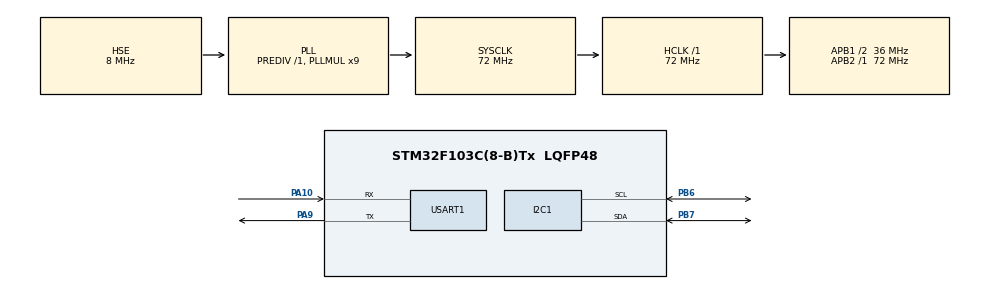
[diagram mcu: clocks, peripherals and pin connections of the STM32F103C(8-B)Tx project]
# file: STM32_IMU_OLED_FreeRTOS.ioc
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Dma.Request0=USART1_RX
Dma.Request1=USART1_TX
Dma.USART1_RX.0.Direction=DMA_PERIPH_TO_MEMORY
Dma.USART1_RX.0.Instance=DMA1_Channel5
Dma.USART1_RX.0.MemDataAlignment=DMA_MDATAALIGN_BYTE
Dma.USART1_RX.0.MemInc=DMA_MINC_ENABLE
Dma.USART1_RX.0.Mode=DMA_NORMAL
Dma.USART1_RX.0.PeriphDataAlignment=DMA_PDATAALIGN_BYTE
Dma.USART1_RX.0.PeriphInc=DMA_PINC_DISABLE
Dma.USART1_RX.0.Priority=DMA_PRIORITY_LOW
Dma.USART1_TX.1.Direction=DMA_MEMORY_TO_PERIPH
Dma.USART1_TX.1.Instance=DMA1_Channel4
Dma.USART1_TX.1.MemDataAlignment=DMA_MDATAALIGN_BYTE
Dma.USART1_TX.1.MemInc=DMA_MINC_ENABLE
Dma.USART1_TX.1.Mode=DMA_NORMAL
Dma.USART1_TX.1.PeriphDataAlignment=DMA_PDATAALIGN_BYTE
Dma.USART1_TX.1.PeriphInc=DMA_PINC_DISABLE
Dma.USART1_TX.1.Priority=DMA_PRIORITY_LOW
FREERTOS.Tasks01=defaultTask,24,128,StartDefaultTask,Default,NULL,Dynamic,NULL,NULL;IMU_Task,40,256,StartTask_IMU,Default,NULL,Dynamic,NULL,NULL;UART_Task,8,256,StartTask_UART,Default,NULL,Dynamic,NULL,NULL;OLED_Task,24,256,StartTask_OLED,Default,NULL,Dynamic,NULL,NULL
FREERTOS.configTOTAL_HEAP_SIZE=8192
Mcu.Family=STM32F1
Mcu.Name=STM32F103C(8-B)Tx
Mcu.Package=LQFP48
NVIC.DMA1_Channel4_IRQn=true\:5\:0\:false\:false\:true\:true\:false\:true
NVIC.DMA1_Channel5_IRQn=true\:5\:0\:false\:false\:true\:true\:false\:true
NVIC.PriorityGroup=NVIC_PRIORITYGROUP_4
NVIC.TIM1_UP_IRQn=true\:0\:0\:false\:false\:true\:false\:false\:true
NVIC.TimeBase=TIM1_UP_IRQn
NVIC.TimeBaseIP=TIM1
NVIC.USART1_IRQn=true\:5\:0\:false\:false\:true\:true\:true\:true
PA10.Mode=Asynchronous
PA10.Signal=USART1_RX
PA13.Mode=Serial_Wire
PA13.Signal=SYS_JTMS-SWDIO
PA14.Mode=Serial_Wire
PA14.Signal=SYS_JTCK-SWCLK
PA9.Mode=Asynchronous
PA9.Signal=USART1_TX
PB6.Mode=I2C
PB6.Signal=I2C1_SCL
PB7.Mode=I2C
PB7.Signal=I2C1_SDA
PD0-OSC_IN.Mode=HSE-External-Oscillator
PD0-OSC_IN.Signal=RCC_OSC_IN
PD1-OSC_OUT.Mode=HSE-External-Oscillator
PD1-OSC_OUT.Signal=RCC_OSC_OUT
ProjectManager.HeapSize=0x200
ProjectManager.StackSize=0x400
ProjectManager.TargetToolchain=MDK-ARM V5.27
RCC.AHBFreq_Value=72000000
RCC.APB1CLKDivider=RCC_HCLK_DIV2
RCC.APB1Freq_Value=36000000
RCC.APB1TimFreq_Value=72000000
RCC.APB2Freq_Value=72000000
RCC.APB2TimFreq_Value=72000000
RCC.HCLKFreq_Value=72000000
RCC.PLLMUL=RCC_PLL_MUL9
RCC.PLLSourceVirtual=RCC_PLLSOURCE_HSE
RCC.SYSCLKFreq_VALUE=72000000
RCC.SYSCLKSource=RCC_SYSCLKSOURCE_PLLCLK
RCC.USBFreq_Value=72000000
USART1.VirtualMode=VM_ASYNC
VP_FREERTOS_VS_CMSIS_V2.Mode=CMSIS_V2
VP_SYS_VS_tim1.Mode=TIM1
board=custom

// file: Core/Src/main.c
/* USER CODE BEGIN Header */
/**
  ******************************************************************************
  * @file           : main.c
  * @brief          : Main program body
  ******************************************************************************
  * @attention
  *
  * <h2><center>&copy; Copyright (c) 2026 STMicroelectronics.
  * All rights reserved.</center></h2>
  *
  * This software component is licensed by ST under BSD 3-Clause license,
  * the "License"; You may not use this file except in compliance with the
  * License. You may obtain a copy of the License at:
  *                        opensource.org/licenses/BSD-3-Clause
  *
  ******************************************************************************
  */
/* USER CODE END Header */
#include "main.h"
#include "cmsis_os.h"
#include "dma.h"
#include "i2c.h"
#include "usart.h"
#include "gpio.h"

/* USER CODE BEGIN Includes */
#include "ssd1306.h"
/* USER CODE END Includes */

/* USER CODE BEGIN PD */

#define MPU6050_ADDR             (0x68U << 1)
#define MPU6050_REG_WHO_AM_I     0x75U
#define MPU6050_REG_PWR_MGMT_1   0x6BU
#define MPU6050_REG_ACCEL_XOUT_H 0x3BU
/* USER CODE END PD */

/* USER CODE BEGIN PV */
volatile int16_t accel_x = 0;
volatile int16_t accel_y = 0;
volatile int16_t accel_z = 0;

volatile int16_t gyro_x = 0;
volatile int16_t gyro_y = 0;
volatile int16_t gyro_z = 0;

volatile uint8_t mpu6050_ok = 0U;

volatile float roll_acc = 0.0f;
volatile float pitch_acc = 0.0f;
volatile float yaw_gyro = 0.0f;
/* USER CODE END PV */

void SystemClock_Config(void);
void MX_FREERTOS_Init(void);

/* USER CODE BEGIN 0 */
/** @brief 向 MPU6050 的一个寄存器写入一个字节。 */
static HAL_StatusTypeDef MPU6050_WriteReg(
    uint8_t reg,
    uint8_t data)
{
    return HAL_I2C_Mem_Write(
        &hi2c1,
        MPU6050_ADDR,
        reg,
        I2C_MEMADD_SIZE_8BIT,
        &data,
        1,
        100
    );
}

/** @brief 从 MPU6050 连续读取多个寄存器。 */
static HAL_StatusTypeDef MPU6050_ReadRegs(
    uint8_t reg,
    uint8_t *data,
    uint16_t len)
{
    return HAL_I2C_Mem_Read(
        &hi2c1,
        MPU6050_ADDR,
        reg,
        I2C_MEMADD_SIZE_8BIT,
        data,
        len,
        100
    );
}

/**
 * @brief 检查 MPU6050 身份并完成基础配置。
 *
 * 配置内容包括唤醒芯片、加速度量程 ±2g、陀螺仪量程 ±250°/s，
 * 并把采样分频设置为较容易观察的速度。
 */
HAL_StatusTypeDef MPU6050_Init(void)
{
    uint8_t id = 0;

    if (MPU6050_ReadRegs(
            MPU6050_REG_WHO_AM_I, &id, 1) != HAL_OK)
    {
        return HAL_ERROR;
    }

    if (id != 0x68)
    {
        return HAL_ERROR;
    }

    if (MPU6050_WriteReg(
            MPU6050_REG_PWR_MGMT_1, 0x00) != HAL_OK)
    {
        return HAL_ERROR;
    }

    HAL_Delay(100);

    if (MPU6050_WriteReg(0x1B, 0x00) != HAL_OK)
    {
        return HAL_ERROR;
    }

    if (MPU6050_WriteReg(0x1C, 0x00) != HAL_OK)
    {
        return HAL_ERROR;
    }

    if (MPU6050_WriteReg(0x19, 0x07) != HAL_OK)
    {
        return HAL_ERROR;
    }

    return HAL_OK;
}

/**
 * @brief 读取一组完整的加速度和陀螺仪原始数据。
 *
 * 从 ACCEL_XOUT_H 开始连续读取 14 字节，跳过温度数据后解析出
 * 三轴加速度和三轴陀螺仪数据。
 */
HAL_StatusTypeDef MPU6050_ReadRaw(void)
{
    uint8_t buf[14];

    if (MPU6050_ReadRegs(
            MPU6050_REG_ACCEL_XOUT_H,
            buf,
            14) != HAL_OK)
    {
        return HAL_ERROR;
    }

    accel_x = (int16_t)((buf[0] << 8) | buf[1]);
    accel_y = (int16_t)((buf[2] << 8) | buf[3]);
    accel_z = (int16_t)((buf[4] << 8) | buf[5]);

    gyro_x = (int16_t)((buf[8] << 8) | buf[9]);
    gyro_y = (int16_t)((buf[10] << 8) | buf[11]);
    gyro_z = (int16_t)((buf[12] << 8) | buf[13]);

    return HAL_OK;
}
/* USER CODE END 0 */

int main(void)
{

  /* MCU Configuration--------------------------------------------------------*/

  /* Reset of all peripherals, Initializes the Flash interface and the Systick. */
  HAL_Init();

  /* Configure the system clock */
  SystemClock_Config();

  /* Initialize all configured peripherals */
  MX_GPIO_Init();
  MX_DMA_Init();
  MX_USART1_UART_Init();
  MX_I2C1_Init();
    /* USER CODE BEGIN 2 */
  /* Initialize sensors and the display before starting the scheduler. */
  mpu6050_ok = (MPU6050_Init() == HAL_OK) ? 1U : 0U;
  (void)ssd1306_Init(&hi2c1);
  /* USER CODE END 2 */

  /* Init scheduler */
  osKernelInitialize();  /* Call init function for freertos objects (in freertos.c) */
  MX_FREERTOS_Init();
  /* Start scheduler */
  osKernelStart();

  /* We should never get here as control is now taken by the scheduler */
  /* Infinite loop */
  while (1){

  }
}

void SystemClock_Config(void)
{
  RCC_OscInitTypeDef RCC_OscInitStruct = {0};
  RCC_ClkInitTypeDef RCC_ClkInitStruct = {0};

  /** Initializes the RCC Oscillators according to the specified parameters
  * in the RCC_OscInitTypeDef structure.
  */
  RCC_OscInitStruct.OscillatorType = RCC_OSCILLATORTYPE_HSE;
  RCC_OscInitStruct.HSEState = RCC_HSE_ON;
  RCC_OscInitStruct.HSEPredivValue = RCC_HSE_PREDIV_DIV1;
  RCC_OscInitStruct.HSIState = RCC_HSI_ON;
  RCC_OscInitStruct.PLL.PLLState = RCC_PLL_ON;
  RCC_OscInitStruct.PLL.PLLSource = RCC_PLLSOURCE_HSE;
  RCC_OscInitStruct.PLL.PLLMUL = RCC_PLL_MUL9;
  if (HAL_RCC_OscConfig(&RCC_OscInitStruct) != HAL_OK)
  {
    Error_Handler();
  }
  /** Initializes the CPU, AHB and APB buses clocks
  */
  RCC_ClkInitStruct.ClockType = RCC_CLOCKTYPE_HCLK|RCC_CLOCKTYPE_SYSCLK
                              |RCC_CLOCKTYPE_PCLK1|RCC_CLOCKTYPE_PCLK2;
  RCC_ClkInitStruct.SYSCLKSource = RCC_SYSCLKSOURCE_PLLCLK;
  RCC_ClkInitStruct.AHBCLKDivider = RCC_SYSCLK_DIV1;
  RCC_ClkInitStruct.APB1CLKDivider = RCC_HCLK_DIV2;
  RCC_ClkInitStruct.APB2CLKDivider = RCC_HCLK_DIV1;

  if (HAL_RCC_ClockConfig(&RCC_ClkInitStruct, FLASH_LATENCY_2) != HAL_OK)
  {
    Error_Handler();
  }
}

 /**
  * @brief  Period elapsed callback in non blocking mode
  * @note   This function is called  when TIM1 interrupt took place, inside
  * HAL_TIM_IRQHandler(). It makes a direct call to HAL_IncTick() to increment
  * a global variable "uwTick" used as application time base.
  * @param  htim : TIM handle
  * @retval None
  */
void HAL_TIM_PeriodElapsedCallback(TIM_HandleTypeDef *htim)
{
  if (htim->Instance == TIM1) {
    HAL_IncTick();
  }
}

void Error_Handler(void)
{
  __disable_irq();
  while (1)
  {
  }
}

/************************ (C) COPYRIGHT STMicroelectronics *****END OF FILE****/

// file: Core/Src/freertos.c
/* USER CODE BEGIN Header */
/**
  ******************************************************************************
  * File Name          : freertos.c
  * Description        : Code for freertos applications
  ******************************************************************************
  * @attention
  *
  * <h2><center>&copy; Copyright (c) 2026 STMicroelectronics.
  * All rights reserved.</center></h2>
  *
  * This software component is licensed by ST under Ultimate Liberty license
  * SLA0044, the "License"; You may not use this file except in compliance with
  * the License. You may obtain a copy of the License at:
  *                             www.st.com/SLA0044
  *
  ******************************************************************************
  */
/* USER CODE END Header */

#include "FreeRTOS.h"
#include "task.h"
#include "main.h"
#include "cmsis_os.h"

/* USER CODE BEGIN Includes */
#include <math.h>
#include <stdio.h>
#include <string.h>
#include "i2c.h"
#include "usart.h"
#include "ssd1306.h"
/* USER CODE END Includes */

/* USER CODE BEGIN Variables */
#define UART_RX_BUFFER_SIZE   256U
#define UART_ECHO_QUEUE_DEPTH 4U

static osMutexId_t i2cMutexHandle;
/* 保护 IMU 原始数据和姿态角，避免多个任务同时读写同一组数据。 */
static osMutexId_t attitudeMutexHandle;

/* DMA 接收缓冲区只负责接收当前这一帧。 */
static uint8_t uart_rx_buffer[UART_RX_BUFFER_SIZE];
/* 回传队列使用独立缓冲区，避免 DMA 发送时被下一帧覆盖。 */
static uint8_t uart_echo_queue[UART_ECHO_QUEUE_DEPTH][UART_RX_BUFFER_SIZE];
static uint16_t uart_echo_length[UART_ECHO_QUEUE_DEPTH];
static char uart_telemetry_buffer[UART_RX_BUFFER_SIZE];
static volatile uint8_t uart_echo_head = 0U;
static volatile uint8_t uart_echo_tail = 0U;
static volatile uint8_t uart_tx_active = 0U;
static volatile uint8_t uart_rx_error = 0U;
/* USER CODE END Variables */
/* Definitions for defaultTask */
osThreadId_t defaultTaskHandle;
const osThreadAttr_t defaultTask_attributes = {
  .name = "defaultTask",
  .stack_size = 128 * 4,
  .priority = (osPriority_t) osPriorityNormal,
};
/* Definitions for IMU_Task */
osThreadId_t IMU_TaskHandle;
const osThreadAttr_t IMU_Task_attributes = {
  .name = "IMU_Task",
  .stack_size = 256 * 4,
  .priority = (osPriority_t) osPriorityHigh,
};
/* Definitions for UART_Task */
osThreadId_t UART_TaskHandle;
const osThreadAttr_t UART_Task_attributes = {
  .name = "UART_Task",
  .stack_size = 256 * 4,
  .priority = (osPriority_t) osPriorityLow,
};
/* Definitions for OLED_Task */
osThreadId_t OLED_TaskHandle;
const osThreadAttr_t OLED_Task_attributes = {
  .name = "OLED_Task",
  .stack_size = 256 * 4,
  .priority = (osPriority_t) osPriorityNormal,
};

void StartDefaultTask(void *argument);
void StartTask_IMU(void *argument);
void StartTask_UART(void *argument);
void StartTask_OLED(void *argument);

static void UART_EchoQueuePush(const uint8_t *data, uint16_t length);
static void UART_EchoProcess(void);
static uint8_t UART_TelemetryTryQueue(void);

void MX_FREERTOS_Init(void); /* (MISRA C 2004 rule 8.1) */

void MX_FREERTOS_Init(void) {

    /* USER CODE BEGIN RTOS_MUTEX */
  i2cMutexHandle = osMutexNew(NULL);
  attitudeMutexHandle = osMutexNew(NULL);
  if ((i2cMutexHandle == NULL) || (attitudeMutexHandle == NULL))
  {
    Error_Handler();
  }
  /* USER CODE END RTOS_MUTEX */

  /* Create the thread(s) */
  /* creation of defaultTask */
  defaultTaskHandle = osThreadNew(StartDefaultTask, NULL, &defaultTask_attributes);

  /* creation of IMU_Task */
  IMU_TaskHandle = osThreadNew(StartTask_IMU, NULL, &IMU_Task_attributes);

  /* creation of UART_Task */
  UART_TaskHandle = osThreadNew(StartTask_UART, NULL, &UART_Task_attributes);

  /* creation of OLED_Task */
  OLED_TaskHandle = osThreadNew(StartTask_OLED, NULL, &OLED_Task_attributes);

    /* USER CODE BEGIN RTOS_THREADS */
  if ((defaultTaskHandle == NULL) ||
      (IMU_TaskHandle == NULL) ||
      (UART_TaskHandle == NULL) ||
      (OLED_TaskHandle == NULL))
  {
    Error_Handler();
  }
  /* USER CODE END RTOS_THREADS */

}

void StartDefaultTask(void *argument)
{
  (void)argument;
  for (;;)
  {
    osDelay(1000U);
  }
}

void StartTask_IMU(void *argument)
{
  uint32_t previousTick;

  (void)argument;
  previousTick = HAL_GetTick();

  for (;;)
  {
    uint8_t sensorReady = 0U;
    if (osMutexAcquire(attitudeMutexHandle, osWaitForever) == osOK)
    {
      sensorReady = mpu6050_ok;
      (void)osMutexRelease(attitudeMutexHandle);
    }

    if (sensorReady != 0U)
    {
      HAL_StatusTypeDef readStatus = HAL_ERROR;
      int16_t rawAccelX = 0;
      int16_t rawAccelY = 0;
      int16_t rawAccelZ = 0;
      int16_t rawGyroZ = 0;

      if (osMutexAcquire(i2cMutexHandle, osWaitForever) == osOK)
      {
        /* 读传感器时也锁住数据，防止串口任务读到一半更新的数据。 */
        if (osMutexAcquire(attitudeMutexHandle, osWaitForever) == osOK)
        {
          readStatus = MPU6050_ReadRaw();
          if (readStatus == HAL_OK)
          {
            rawAccelX = accel_x;
            rawAccelY = accel_y;
            rawAccelZ = accel_z;
            rawGyroZ = gyro_z;
          }
          (void)osMutexRelease(attitudeMutexHandle);
        }
        (void)osMutexRelease(i2cMutexHandle);
      }

      if (readStatus == HAL_OK)
      {
        /* MPU6050 当前量程对应：加速度 16384 LSB/g，陀螺仪 131 LSB/(°/s)。 */
        float ax_g = (float)rawAccelX / 16384.0f;
        float ay_g = (float)rawAccelY / 16384.0f;
        float az_g = (float)rawAccelZ / 16384.0f;
        float gz_dps = (float)rawGyroZ / 131.0f;
        uint32_t now = HAL_GetTick();
        uint32_t elapsed = now - previousTick;
        float newRoll;
        float newPitch;
        float newYaw;

        previousTick = now;
        /* 静止或低速转动时，重力方向可以给出 Roll/Pitch。 */
        newRoll = atan2f(ay_g, az_g) * 57.29578f;
        newPitch = atan2f(-ax_g, sqrtf((ay_g * ay_g) + (az_g * az_g))) * 57.29578f;

        if (osMutexAcquire(attitudeMutexHandle, osWaitForever) == osOK)
        {
          /* Yaw 没有磁力计参考，这里用 Z 轴角速度积分，并限制到 ±180°。 */
          newYaw = yaw_gyro + gz_dps * ((float)elapsed * 0.001f);
          if (newYaw > 180.0f)
          {
            newYaw -= 360.0f;
          }
          else if (newYaw < -180.0f)
          {
            newYaw += 360.0f;
          }
          roll_acc = newRoll;
          pitch_acc = newPitch;
          yaw_gyro = newYaw;
          (void)osMutexRelease(attitudeMutexHandle);
        }
      }
      else
      {
        if (osMutexAcquire(attitudeMutexHandle, osWaitForever) == osOK)
        {
          mpu6050_ok = 0U;
          (void)osMutexRelease(attitudeMutexHandle);
        }
      }
    }

    osDelay(10U);
  }
}

void StartTask_UART(void *argument)
{
  uint32_t lastTelemetryTick;

  (void)argument;

  /* 任务启动后开启 DMA 不定长接收，避免在 RTOS 尚未运行时触发回调。 */
  if (HAL_UARTEx_ReceiveToIdle_DMA(
          &huart1,
          uart_rx_buffer,
          UART_RX_BUFFER_SIZE) != HAL_OK)
  {
    Error_Handler();
  }
  /* 关闭半传输通知，只在一帧真正结束（检测到 IDLE）时处理。 */
  __HAL_DMA_DISABLE_IT(huart1.hdmarx, DMA_IT_HT);
  lastTelemetryTick = HAL_GetTick();

  for (;;)
  {
    /* 收到的数据在队列中按原长度原样发回。 */
    UART_EchoProcess();

    /* 队列空闲时，定时把 IMU 原始数据和姿态角发给串口助手。 */
    if ((HAL_GetTick() - lastTelemetryTick) >= 500U)
    {
      if (UART_TelemetryTryQueue() != 0U)
      {
        lastTelemetryTick = HAL_GetTick();
      }
    }

    if (uart_rx_error != 0U)
    {
      /* 重新启动接收，给串口故障留下恢复机会。 */
      uart_rx_error = 0U;
      if (HAL_UARTEx_ReceiveToIdle_DMA(
              &huart1,
              uart_rx_buffer,
              UART_RX_BUFFER_SIZE) != HAL_OK)
      {
        uart_rx_error = 1U;
      }
      else
      {
        __HAL_DMA_DISABLE_IT(huart1.hdmarx, DMA_IT_HT);
      }
    }

    osDelay(1U);
  }
}

void StartTask_OLED(void *argument)
{
  char line[24];

  (void)argument;
  for (;;)
  {
    uint8_t sensorReady = 0U;
    float roll = 0.0f;
    float pitch = 0.0f;
    float yaw = 0.0f;

    if (osMutexAcquire(attitudeMutexHandle, osWaitForever) == osOK)
    {
      sensorReady = mpu6050_ok;
      roll = roll_acc;
      pitch = pitch_acc;
      yaw = yaw_gyro;
      (void)osMutexRelease(attitudeMutexHandle);
    }

    ssd1306_Fill(Black);
    ssd1306_SetCursor(0U, 0U);
    ssd1306_WriteString("IMU Attitude", Font_7x10, White);

    if (sensorReady != 0U)
    {
      ssd1306_SetCursor(0U, 16U);
      (void)snprintf(line, sizeof(line), "Roll: %.2f", (double)roll);
      ssd1306_WriteString(line, Font_7x10, White);
      ssd1306_WriteDegree(White);

      ssd1306_SetCursor(0U, 32U);
      (void)snprintf(line, sizeof(line), "Pitch: %.2f", (double)pitch);
      ssd1306_WriteString(line, Font_7x10, White);
      ssd1306_WriteDegree(White);

      ssd1306_SetCursor(0U, 48U);
      (void)snprintf(line, sizeof(line), "Yaw: %.2f", (double)yaw);
      ssd1306_WriteString(line, Font_7x10, White);
      ssd1306_WriteDegree(White);
    }
    else
    {
      ssd1306_SetCursor(0U, 16U);
      ssd1306_WriteString("Sensor Error", Font_7x10, White);
    }

    if (osMutexAcquire(i2cMutexHandle, osWaitForever) == osOK)
    {
      ssd1306_UpdateScreen(&hi2c1);
      (void)osMutexRelease(i2cMutexHandle);
    }

    osDelay(100U);
  }
}

/* USER CODE BEGIN Application */

static void UART_EchoQueuePush(const uint8_t *data, uint16_t length)
{
  uint8_t nextHead;
  uint32_t previousPrimask;

  if ((length == 0U) || (length > UART_RX_BUFFER_SIZE))
  {
    return;
  }

  /* 接收回调运行在中断中，发送任务也可能写入同一个队列。 */
  previousPrimask = __get_PRIMASK();
  __disable_irq();

  nextHead = (uint8_t)(uart_echo_head + 1U);
  if (nextHead >= UART_ECHO_QUEUE_DEPTH)
  {
    nextHead = 0U;
  }

  /* 队列已满时丢弃当前帧，保护已经排队等待发送的数据。 */
  if (nextHead == uart_echo_tail)
  {
    if (previousPrimask == 0U)
    {
      __enable_irq();
    }
    return;
  }

  (void)memcpy(uart_echo_queue[uart_echo_head], data, length);
  uart_echo_length[uart_echo_head] = length;
  uart_echo_head = nextHead;

  if (previousPrimask == 0U)
  {
    __enable_irq();
  }
}

/**
 * @brief 把当前 IMU 数据排成一段易读的文字，放入串口发送队列。
 * @retval 1 成功排队，0 队列当前忙或数据无效。
 */
static uint8_t UART_TelemetryTryQueue(void)
{
  uint8_t sensorReady = 0U;
  float roll = 0.0f;
  float pitch = 0.0f;
  float yaw = 0.0f;
  int messageLength;
  uint16_t txLength;
  uint8_t pushed = 0U;
  uint32_t previousPrimask;

  if (osMutexAcquire(attitudeMutexHandle, osWaitForever) == osOK)
  {
    sensorReady = mpu6050_ok;
    roll = roll_acc;
    pitch = pitch_acc;
    yaw = yaw_gyro;
    (void)osMutexRelease(attitudeMutexHandle);
  }

  if (sensorReady == 0U)
  {
    messageLength = snprintf(
        uart_telemetry_buffer,
        sizeof(uart_telemetry_buffer),
        "MPU6050 ERROR\r\n");
  }
  else
  {
    messageLength = snprintf(
        uart_telemetry_buffer,
        sizeof(uart_telemetry_buffer),
        "IMU Attitude\r\n"
        "Roll: %.2f deg\r\n"
        "Pitch: %.2f deg\r\n"
        "Yaw: %.2f deg\r\n",
        (double)roll,
        (double)pitch,
        (double)yaw);
  }

  if (messageLength <= 0)
  {
    return 0U;
  }

  txLength = (messageLength >= (int)sizeof(uart_telemetry_buffer))
                 ? (uint16_t)(sizeof(uart_telemetry_buffer) - 1U)
                 : (uint16_t)messageLength;

  /* 只有发送队列完全空闲时才加入遥测，保证收到的回传优先。 */
  previousPrimask = __get_PRIMASK();
  __disable_irq();
  if ((uart_tx_active == 0U) && (uart_echo_tail == uart_echo_head))
  {
    UART_EchoQueuePush((const uint8_t *)uart_telemetry_buffer, txLength);
    pushed = 1U;
  }
  if (previousPrimask == 0U)
  {
    __enable_irq();
  }

  return pushed;
}

static void UART_EchoProcess(void)
{
  uint8_t tail;

  if ((uart_tx_active != 0U) || (uart_echo_tail == uart_echo_head))
  {
    return;
  }

  tail = uart_echo_tail;
  uart_tx_active = 1U;
  if (HAL_UART_Transmit_DMA(
          &huart1,
          uart_echo_queue[tail],
          uart_echo_length[tail]) != HAL_OK)
  {
    /* DMA 忙时不删除队头，下一次循环继续尝试。 */
    uart_tx_active = 0U;
  }
}

/* HAL 检测到串口空闲时调用，Size 就是这一帧收到的实际长度。 */
void HAL_UARTEx_RxEventCallback(UART_HandleTypeDef *huart, uint16_t Size)
{
  if (huart->Instance != USART1)
  {
    return;
  }

  UART_EchoQueuePush(uart_rx_buffer, Size);

  /* 重新开启 DMA，下一帧可以是不同长度。 */
  if (HAL_UARTEx_ReceiveToIdle_DMA(
          &huart1,
          uart_rx_buffer,
          UART_RX_BUFFER_SIZE) != HAL_OK)
  {
    uart_rx_error = 1U;
  }
  else
  {
    __HAL_DMA_DISABLE_IT(huart1.hdmarx, DMA_IT_HT);
  }
}

/* 一帧 DMA 发送完成后，释放队列当前位置。 */
void HAL_UART_TxCpltCallback(UART_HandleTypeDef *huart)
{
  uint8_t nextTail;

  if (huart->Instance != USART1)
  {
    return;
  }

  nextTail = (uint8_t)(uart_echo_tail + 1U);
  if (nextTail >= UART_ECHO_QUEUE_DEPTH)
  {
    nextTail = 0U;
  }
  uart_echo_tail = nextTail;
  uart_tx_active = 0U;
}

/* USER CODE END Application */

/************************ (C) COPYRIGHT STMicroelectronics *****END OF FILE****/
